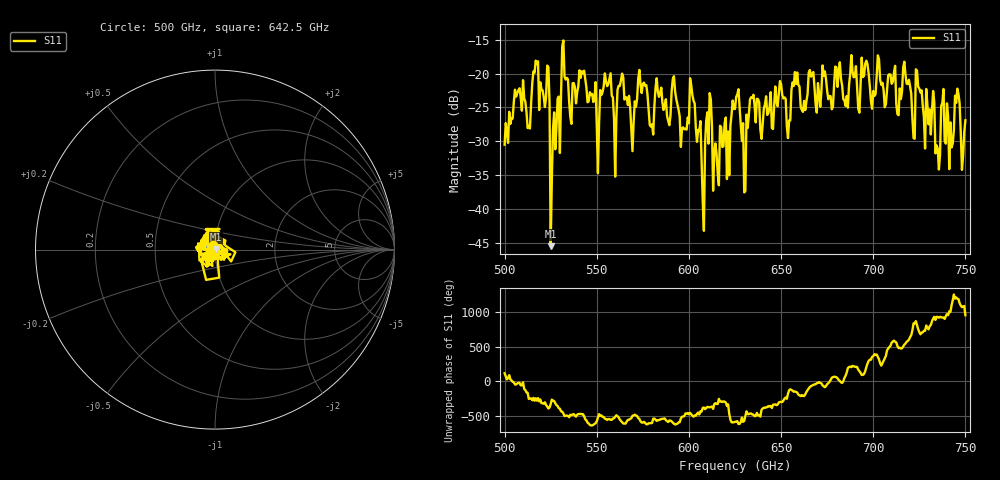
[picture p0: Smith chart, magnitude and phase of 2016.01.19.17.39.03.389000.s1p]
!Created with skrf (http://scikit-rf.org).
# GHz S RI R 50.0
!freq ReS11 ImS11
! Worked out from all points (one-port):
!   401 points, 500 GHz to 750 GHz, reference 50 ohm
!   lowest |S11| = -45.5 dB at 525 GHz (marker M1), VSWR 1.01, Z = 50.5 + j0.249 ohm
!   |S11| at or under -10 dB: start of sweep to end of sweep
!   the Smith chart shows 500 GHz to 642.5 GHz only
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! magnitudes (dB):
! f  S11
! 500 GHz  -30.5
! 506.9 GHz  -22.9
! 513.1 GHz  -27.7
! 516.9 GHz  -18.1
! 523.1 GHz  -18.8
! 525 GHz  -45.5
! 526.2 GHz  -28.3
! 531.2 GHz  -16.0
! 551.2 GHz  -27.3
! 562.5 GHz  -21.8
! 569.4 GHz  -31.5
! 573.8 GHz  -21.7
! 579.4 GHz  -27.8
! 593.8 GHz  -24.5
! 596.9 GHz  -27.9
! 601.9 GHz  -23.2
! 607.5 GHz  -38.9
! 610.6 GHz  -30.4
! 614.4 GHz  -30.3
! 625 GHz  -25.2
! 629.4 GHz  -27.3
! 634.4 GHz  -23.6
! 656.2 GHz  -21.3
! 687.5 GHz  -20.1
! 718.8 GHz  -21.5
! 735 GHz  -31.1
! 745.6 GHz  -22.2
! 750 GHz  -26.9
